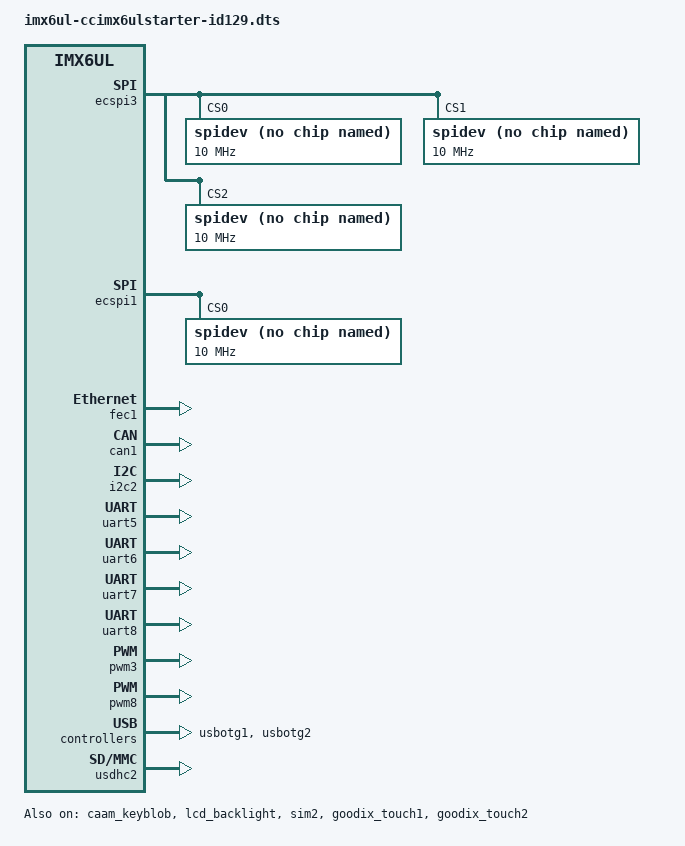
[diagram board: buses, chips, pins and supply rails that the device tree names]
/*
 * Copyright 2016, 2017 Digi International, Inc.
 *
 * The code contained herein is licensed under the GNU General Public
 * License. You may obtain a copy of the GNU General Public License
 * Version 2 or later at the following locations:
 *
 * http://www.opensource.org/licenses/gpl-license.html
 * http://www.gnu.org/copyleft/gpl.html
 */

/dts-v1/;
#include <dt-bindings/input/input.h>
#include <dt-bindings/interrupt-controller/irq.h>
/* i.MX6 UltraLite CPU */
#include "imx6ul.dtsi"
/* ConnectCore 6UL (wireless/bluetooth variant) */
#include "imx6ul-ccimx6ul-wb.dtsi"
/* ConnectCore 6UL StarterBoard */
#include "imx6ul-ccimx6ulstarter.dtsi"

&mca_adc {
	digi,adc-ch-list = <4>;
	digi,adc-vref = <3000000>;
};

&caam_keyblob {
	status = "okay";
};

/* ECSPI3 */
&ecspi3 {
	status = "okay";

	spidev@0 {
		reg = <0>;
		compatible = "spidev";
		spi-max-frequency = <10000000>;
	};

	spidev@1 {
		reg = <1>;
		compatible = "spidev";
		spi-max-frequency = <10000000>;
	};

	spidev@2 {
		reg = <2>;
		compatible = "spidev";
		spi-max-frequency = <10000000>;
	};
};

/* ECSPI1 */
&ecspi1 {
	status = "okay";

	spidev@0 {
		reg = <0>;
		compatible = "spidev";
		spi-max-frequency = <10000000>;
	};
};

&fec1 {
	status = "okay";
};

/* CAN1 */
&can1 {
	status = "okay";
};

/* I2C2 */
&i2c2 {
	status = "okay";
};

/* UART5 (Console) */
&uart5 {
	status = "okay";
};

/* UART6 */
&uart6 {                                                                           
    status = "okay";                                                       
};

/* UART7 */
&uart7 {                                                                           
   status = "okay";                                                       
};

/* UART8 */
&uart8 {                                                                           
   status = "okay";                                                       
};

/* PWM3 */
&pwm3 {
	status = "okay";
};

&lcd_backlight {
	status = "okay";
};

/* PWM8 */
&pwm8 {
	status = "okay";
};

/* USB 1 */
&usbotg1 {
	status = "okay";
};

/* USB 2 */
&usbotg2 {
	status = "okay";
};

/* USDHC2 (microSD) */
&usdhc2 {
	status = "okay";
};

/* SmartCard */
&sim2 {
    status = "okay";
};

/* Tactil 0x14 */
&goodix_touch1 {
	status = "okay";
};

/* Tactil 0x5D */
&goodix_touch2 {
	status = "okay";
};
